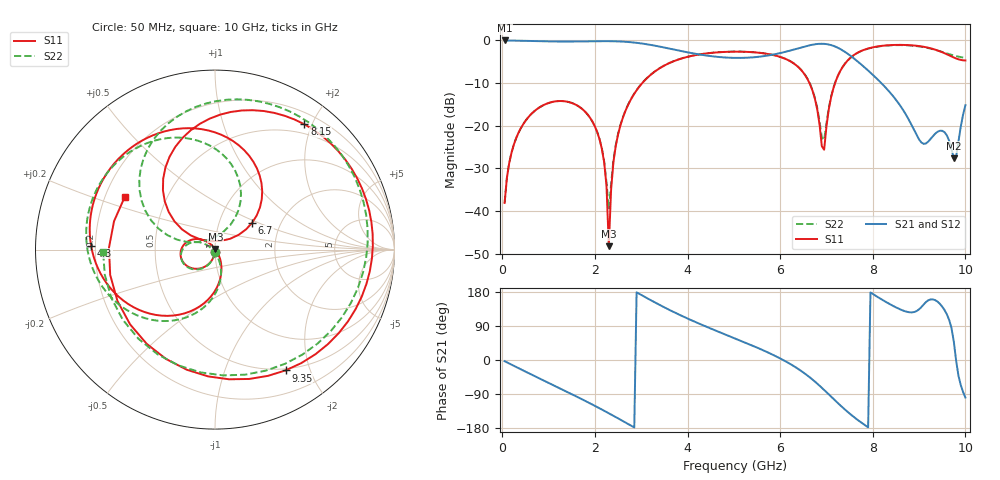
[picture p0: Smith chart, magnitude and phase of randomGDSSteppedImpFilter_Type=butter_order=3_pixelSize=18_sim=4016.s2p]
! freq	dB(S11)	phase(S11)	dB(S12)	phase(S12)
!  dB(S21)	phase(S21)	dB(S22)	phase(S22)
!S-par simulation data
#  GHz  S  DB  R 50
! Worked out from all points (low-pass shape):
!   200 points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, 50 MHz to 10 GHz, reference 50 ohm
!   highest |S21| = -0.01 dB at 50 MHz (marker M1); lowest = -27.7 dB at 9.75 GHz (marker M2)
!   |S21| within 3 dB of the highest: start of sweep to 4.105 GHz; 5.987 GHz to 7.443 GHz (1.455 GHz wide, 21.7 % of centre)
!   lowest |S11| = -48.3 dB at 2.3 GHz (marker M3), VSWR 1.01, Z = 50.2 + j0.306 ohm
!   |S11| at or under -10 dB: start of sweep to 3.023 GHz; 6.632 GHz to 7.187 GHz (554.4 MHz wide, 8.02 % of centre)
!   |S22| runs from -39.6 to -1.1 dB; largest |S21 - S12| = 0
!   S11 on the Smith chart (normalised r, x): 50 MHz: 1.00, -0.02; 4.3 GHz: 0.18, +0.02; 6.7 GHz: 1.44, +0.46; 8.15 GHz: 0.36, +1.89; 9.35 GHz: 0.48, -1.64; 10 GHz: 0.28, +0.25
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0.05  -38.14 -92.5  -0.01 -3.1  -0.01 -3.1  -38.13 -92.3
0.2  -26.30 -102.6  -0.03 -12.3  -0.03 -12.3  -26.29 -102.0
0.55  -18.18 -124.8  -0.11 -33.6  -0.11 -33.6  -18.18 -123.3
1.75  -16.32 161.2  -0.23 -105.4  -0.23 -105.4  -16.32 168.1
2.15  -25.41 133.2  -0.17 -130.7  -0.17 -130.7  -25.35 150.6
2.25  -34.06 121.0  -0.17 -137.3  -0.17 -137.3  -33.30 161.5
2.3  -48.28 52.1  -0.18 -140.6  -0.18 -140.6  -39.64 -144.3
2.4  -28.52 -55.9  -0.19 -147.3  -0.19 -147.3  -28.12 -71.4
2.55  -19.96 -69.1  -0.25 -157.4  -0.25 -157.4  -19.87 -71.9
3.4  -6.51 -128.8  -1.45 145.2  -1.45 145.2  -6.49 -122.9
4.3  -3.21 178.2  -3.37 93.4  -3.37 93.4  -3.20 -172.0
5.05  -2.63 139.5  -4.10 55.7  -4.10 55.7  -2.62 152.5
5.9  -3.55 93.1  -3.21 10.4  -3.21 10.4  -3.54 110.3
6.7  -11.83 35.9  -0.99 -51.7  -0.99 -51.7  -11.71 59.4
6.95  -25.65 116.9  -0.80 -79.0  -0.80 -79.0  -23.34 130.3
7.3  -7.12 131.2  -2.03 -119.8  -2.03 -119.8  -7.12 151.2
8.15  -1.33 54.5  -9.63 162.9  -9.63 162.9  -1.37 77.6
8.35  -1.12 38.7  -11.93 148.6  -11.93 148.6  -1.16 61.7
8.95  -1.26 -12.8  -22.28 129.4  -22.28 129.4  -1.33 7.8
9.35  -2.17 -59.7  -21.85 157.8  -21.85 157.8  -2.21 -42.5
9.75  -4.01 -138.6  -27.65 48.6  -27.65 48.6  -3.54 -118.8
10  -4.70 150.0  -15.19 -99.1  -15.19 -99.1  -4.10 -179.0
